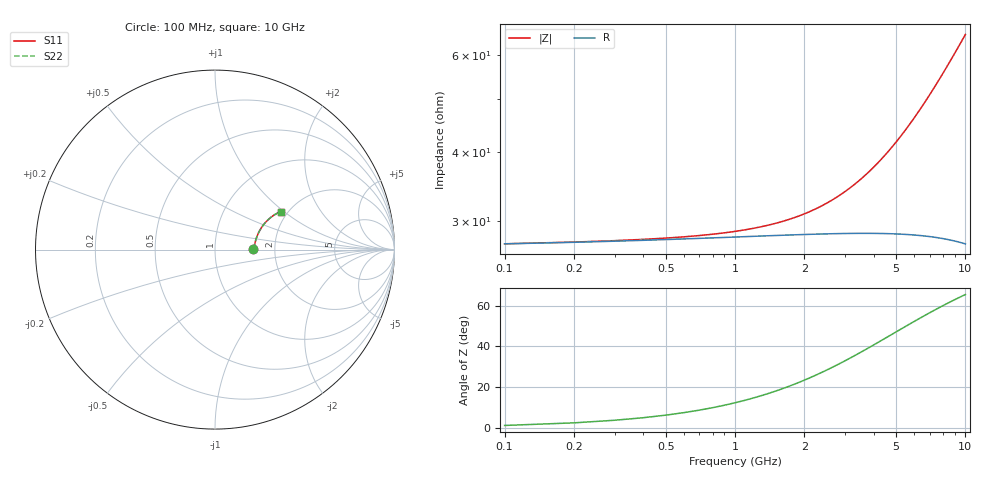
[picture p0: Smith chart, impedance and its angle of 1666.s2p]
# Hz S RI R 50.00
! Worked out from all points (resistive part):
!   100 points, 100 MHz to 10 GHz, reference 50 ohm
!   read as one part in series: R = 27.2 ohm at 100 MHz
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1e8  0.2141 0.00291  0.7859 -0.00462  0.7859 -0.00462  0.2141 0.00291
2e8  0.2153 0.00581  0.7847 -0.00922  0.7847 -0.00922  0.2153 0.00581
3e8  0.2162 0.00868  0.7838 -0.0138  0.7838 -0.0138  0.2162 0.00868
8e8  0.2195 0.0229  0.7804 -0.0366  0.7804 -0.0366  0.2195 0.0229
1.1e9  0.2215 0.0314  0.7783 -0.0502  0.7783 -0.0502  0.2215 0.0314
1.4e9  0.2235 0.0397  0.7762 -0.0637  0.7762 -0.0637  0.2235 0.0397
1.8e9  0.2265 0.0508  0.773 -0.0815  0.773 -0.0815  0.2265 0.0508
2.1e9  0.229 0.0589  0.7703 -0.0948  0.7703 -0.0948  0.229 0.0589
2.5e9  0.2326 0.0697  0.7663 -0.1124  0.7663 -0.1124  0.2326 0.0697
2.9e9  0.2367 0.0802  0.7619 -0.1297  0.7619 -0.1297  0.2367 0.0802
3.4e9  0.2424 0.093  0.7557 -0.1511  0.7557 -0.1511  0.2424 0.093
3.8e9  0.2474 0.1029  0.7502 -0.1679  0.7502 -0.1679  0.2474 0.1029
4.2e9  0.2529 0.1126  0.7442 -0.1844  0.7442 -0.1844  0.2529 0.1126
4.6e9  0.2587 0.122  0.7378 -0.2007  0.7378 -0.2007  0.2587 0.122
5.1e9  0.2665 0.1332  0.7292 -0.2205  0.7292 -0.2205  0.2665 0.1332
5.9e9  0.2801 0.1501  0.7141 -0.2512  0.7141 -0.2512  0.2801 0.1501
6.7e9  0.2951 0.1655  0.6976 -0.2804  0.6976 -0.2804  0.2951 0.1655
7.2e9  0.3049 0.1744  0.6865 -0.2979  0.6865 -0.2979  0.3049 0.1744
7.6e9  0.3131 0.181  0.6774 -0.3114  0.6774 -0.3114  0.3131 0.181
8.4e9  0.3302 0.1929  0.6582 -0.3373  0.6582 -0.3373  0.3302 0.1929
9.2e9  0.3479 0.2032  0.6381 -0.3615  0.6381 -0.3615  0.3479 0.2032
1e10  0.3661 0.2118  0.6172 -0.3841  0.6172 -0.3841  0.3661 0.2118
